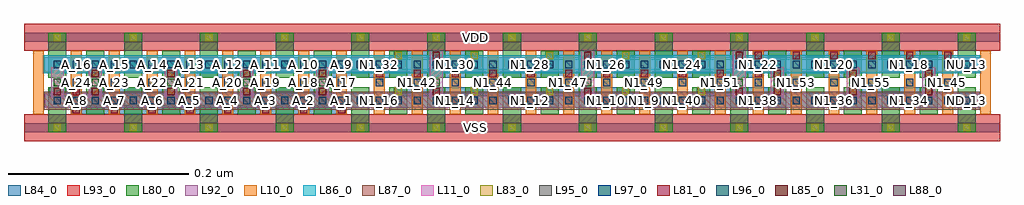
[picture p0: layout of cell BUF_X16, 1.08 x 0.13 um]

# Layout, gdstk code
import gdstk
lib = gdstk.Library(unit=1e-6, precision=1e-09)
def R(c, l, rs):  # rectangles x0, y0, x1, y1
    for r in rs: c.add(gdstk.rectangle(r[:2], r[2:], *l))
def A(c, l, x, y, w, h, nx, ny, dx, dy):  # array of equal rectangles
    R(c, l, [(x+i*dx, y+j*dy, x+i*dx+w, y+j*dy+h) for i in range(nx) for j in range(ny)])
L10_0 = (10, 0)
L11_0 = (11, 0)
L31_0 = (31, 0)
L80_0 = (80, 0)
L81_0 = (81, 0)
L83_0 = (83, 0)
L84_0 = (84, 0)
L85_0 = (85, 0)
L86_0 = (86, 0)
L87_0 = (87, 0)
L88_0 = (88, 0)
L92_0 = (92, 0)
L93_0 = (93, 0)
L95_0 = (95, 0)
L96_0 = (96, 0)
L97_0 = (97, 0)

buf_x16 = lib.new_cell('BUF_X16')
A(buf_x16, L10_0, -0.027, 0.015, 0.012, 0.07, 26, 1, 0.042, 0)
R(buf_x16, L11_0, [(-0.007,0.033,0.007,0.067), (0.035,0.033,0.049,0.067), (0.035,0.033,0.049,0.067), (0.119,0.033,0.133,0.067), (0.119,0.033,0.133,0.067), (0.203,0.033,0.217,0.067), (0.203,0.033,0.217,0.067), (0.287,0.033,0.301,0.067), (0.287,0.033,0.301,0.067), (0.413,0.033,0.427,0.067), (0.413,0.033,0.427,0.067), (0.581,0.033,0.595,0.067), (0.581,0.033,0.595,0.067), (0.749,0.033,0.763,0.067), (0.749,0.033,0.763,0.067), (0.791,0.033,0.805,0.067), (0.791,0.033,0.805,0.067), (0.875,0.033,0.889,0.067), (0.875,0.033,0.889,0.067), (0.959,0.033,0.973,0.067), (0.959,0.033,0.973,0.067), (0.413,0.053,0.427,0.087), (0.413,0.053,0.427,0.087), (0.581,0.053,0.595,0.087), (0.581,0.053,0.595,0.087), (0.749,0.053,0.763,0.087), (0.749,0.053,0.763,0.087)])
A(buf_x16, L31_0, 0.038, 0.046, 0.008, 0.008, 4, 1, 0.084, 0)
A(buf_x16, L31_0, 0.416, 0.046, 0.008, 0.008, 3, 1, 0.168, 0)
A(buf_x16, L31_0, 0.794, 0.046, 0.008, 0.008, 3, 1, 0.084, 0)
R(buf_x16, L31_0, [(-0.004,0.046,0.004,0.054)])
A(buf_x16, L80_0, -0.01, -0.005, 0.02, 0.03, 13, 2, 0.084, 0.08)
A(buf_x16, L80_0, -0.01, 0.015, 0.02, 0.03, 6, 1, 0.042, 0)
A(buf_x16, L80_0, 0.2, 0.015, 0.02, 0.03, 20, 1, 0.042, 0)
A(buf_x16, L80_0, -0.01, 0.055, 0.02, 0.03, 20, 1, 0.042, 0)
A(buf_x16, L80_0, 0.788, 0.055, 0.02, 0.03, 6, 1, 0.042, 0)
R(buf_x16, L81_0, [(0.017,0.016,0.025,0.024), (0.017,0.016,0.025,0.024), (0.059,0.016,0.067,0.024), (0.059,0.016,0.067,0.024), (0.101,0.016,0.109,0.024), (0.101,0.016,0.109,0.024), (0.143,0.016,0.151,0.024), (0.143,0.016,0.151,0.024), (0.185,0.016,0.193,0.024), (0.185,0.016,0.193,0.024), (0.227,0.016,0.235,0.024), (0.227,0.016,0.235,0.024), (0.269,0.016,0.277,0.024), (0.269,0.016,0.277,0.024), (0.311,0.016,0.319,0.024), (0.311,0.016,0.319,0.024), (0.017,0.036,0.025,0.044), (0.353,0.056,0.361,0.064), (0.353,0.056,0.361,0.064), (0.395,0.056,0.403,0.064), (0.395,0.056,0.403,0.064), (0.437,0.056,0.445,0.064), (0.437,0.056,0.445,0.064), (0.479,0.056,0.487,0.064), (0.479,0.056,0.487,0.064), (0.521,0.056,0.529,0.064), (0.521,0.056,0.529,0.064), (0.563,0.056,0.571,0.064), (0.563,0.056,0.571,0.064), (0.605,0.056,0.613,0.064), (0.605,0.056,0.613,0.064), (0.647,0.056,0.655,0.064), (0.647,0.056,0.655,0.064), (0.689,0.056,0.697,0.064), (0.689,0.056,0.697,0.064), (0.731,0.056,0.739,0.064), (0.731,0.056,0.739,0.064), (0.773,0.056,0.781,0.064), (0.773,0.056,0.781,0.064), (0.773,0.076,0.781,0.084), (0.773,0.076,0.781,0.084), (0.773,0.076,0.781,0.084), (0.773,0.076,0.781,0.084), (0.773,0.076,0.781,0.084), (0.773,0.076,0.781,0.084), (0.815,0.076,0.823,0.084), (0.815,0.076,0.823,0.084), (0.815,0.076,0.823,0.084), (0.815,0.076,0.823,0.084), (0.815,0.076,0.823,0.084), (0.815,0.076,0.823,0.084), (0.857,0.076,0.865,0.084), (0.857,0.076,0.865,0.084), (0.857,0.076,0.865,0.084), (0.857,0.076,0.865,0.084), (0.857,0.076,0.865,0.084), (0.857,0.076,0.865,0.084), (0.899,0.076,0.907,0.084), (0.899,0.076,0.907,0.084), (0.899,0.076,0.907,0.084), (0.899,0.076,0.907,0.084), (0.899,0.076,0.907,0.084), (0.899,0.076,0.907,0.084), (0.941,0.076,0.949,0.084), (0.941,0.076,0.949,0.084), (0.941,0.076,0.949,0.084), (0.941,0.076,0.949,0.084), (0.983,0.076,0.991,0.084), (0.983,0.076,0.991,0.084)])
A(buf_x16, L83_0, -0.004, -0.004, 0.008, 0.008, 13, 2, 0.084, 0.1)
R(buf_x16, L83_0, [(0.038,0.036,0.046,0.044), (0.038,0.036,0.046,0.044), (0.122,0.036,0.13,0.044), (0.122,0.036,0.13,0.044), (0.206,0.036,0.214,0.044), (0.206,0.036,0.214,0.044), (0.29,0.036,0.298,0.044), (0.29,0.036,0.298,0.044), (0.374,0.036,0.382,0.044), (0.374,0.036,0.382,0.044), (0.458,0.036,0.466,0.044), (0.458,0.036,0.466,0.044), (0.542,0.036,0.55,0.044), (0.542,0.036,0.55,0.044), (0.626,0.036,0.634,0.044), (0.626,0.036,0.634,0.044), (0.71,0.036,0.718,0.044), (0.71,0.036,0.718,0.044), (0.794,0.036,0.802,0.044), (0.794,0.036,0.802,0.044), (0.878,0.036,0.886,0.044), (0.878,0.036,0.886,0.044), (0.962,0.036,0.97,0.044), (0.962,0.036,0.97,0.044), (0.038,0.056,0.046,0.064), (0.038,0.056,0.046,0.064), (0.122,0.056,0.13,0.064), (0.122,0.056,0.13,0.064), (0.206,0.056,0.214,0.064), (0.206,0.056,0.214,0.064), (0.29,0.056,0.298,0.064), (0.29,0.056,0.298,0.064), (0.794,0.056,0.802,0.064), (0.794,0.056,0.802,0.064), (0.878,0.056,0.886,0.064), (0.878,0.056,0.886,0.064), (0.962,0.056,0.97,0.064), (0.962,0.056,0.97,0.064), (0.374,0.076,0.382,0.084), (0.374,0.076,0.382,0.084), (0.374,0.076,0.382,0.084), (0.374,0.076,0.382,0.084), (0.374,0.076,0.382,0.084), (0.374,0.076,0.382,0.084), (0.458,0.076,0.466,0.084), (0.458,0.076,0.466,0.084), (0.458,0.076,0.466,0.084), (0.458,0.076,0.466,0.084), (0.458,0.076,0.466,0.084), (0.458,0.076,0.466,0.084), (0.542,0.076,0.55,0.084), (0.542,0.076,0.55,0.084), (0.542,0.076,0.55,0.084), (0.542,0.076,0.55,0.084), (0.542,0.076,0.55,0.084), (0.542,0.076,0.55,0.084), (0.626,0.076,0.634,0.084), (0.626,0.076,0.634,0.084), (0.626,0.076,0.634,0.084), (0.626,0.076,0.634,0.084), (0.626,0.076,0.634,0.084), (0.626,0.076,0.634,0.084), (0.71,0.076,0.718,0.084), (0.71,0.076,0.718,0.084), (0.71,0.076,0.718,0.084), (0.71,0.076,0.718,0.084), (0.71,0.076,0.718,0.084), (0.71,0.076,0.718,0.084), (1.004,0.096,1.012,0.104)])
R(buf_x16, L84_0, [(-0.037,-0.005,1.045,0.005), (0.016,0.015,0.047,0.025), (0.016,0.015,0.047,0.025), (0.037,0.015,0.068,0.025), (0.037,0.015,0.068,0.025), (0.058,0.015,0.089,0.025), (0.058,0.015,0.089,0.025), (0.079,0.015,0.11,0.025), (0.079,0.015,0.11,0.025), (0.1,0.015,0.131,0.025), (0.1,0.015,0.131,0.025), (0.121,0.015,0.152,0.025), (0.121,0.015,0.152,0.025), (0.142,0.015,0.173,0.025), (0.142,0.015,0.173,0.025), (0.163,0.015,0.194,0.025), (0.163,0.015,0.194,0.025), (0.184,0.015,0.215,0.025), (0.184,0.015,0.215,0.025), (0.205,0.015,0.236,0.025), (0.205,0.015,0.236,0.025), (0.226,0.015,0.257,0.025), (0.226,0.015,0.257,0.025), (0.247,0.015,0.278,0.025), (0.247,0.015,0.278,0.025), (0.268,0.015,0.299,0.025), (0.268,0.015,0.299,0.025), (0.289,0.015,0.32,0.025), (0.289,0.015,0.32,0.025), (-0.009,0.035,0.027,0.045), (0.037,0.035,0.047,0.045), (0.037,0.035,0.132,0.045), (0.121,0.035,0.131,0.045), (0.121,0.035,0.131,0.045), (0.205,0.035,0.236,0.045), (0.205,0.035,0.236,0.045), (0.226,0.035,0.257,0.045), (0.226,0.035,0.257,0.045), (0.247,0.035,0.278,0.045), (0.247,0.035,0.278,0.045), (0.268,0.035,0.299,0.045), (0.268,0.035,0.299,0.045), (0.373,0.035,0.404,0.045), (0.373,0.035,0.404,0.045), (0.394,0.035,0.425,0.045), (0.394,0.035,0.425,0.045), (0.415,0.035,0.446,0.045), (0.415,0.035,0.446,0.045), (0.436,0.035,0.467,0.045), (0.436,0.035,0.467,0.045), (0.457,0.035,0.488,0.045), (0.457,0.035,0.488,0.045), (0.478,0.035,0.509,0.045), (0.478,0.035,0.509,0.045), (0.499,0.035,0.53,0.045), (0.499,0.035,0.53,0.045), (0.52,0.035,0.551,0.045), (0.52,0.035,0.551,0.045), (0.541,0.035,0.572,0.045), (0.541,0.035,0.572,0.045), (0.562,0.035,0.593,0.045), (0.562,0.035,0.593,0.045), (0.583,0.035,0.614,0.045), (0.583,0.035,0.614,0.045), (0.604,0.035,0.635,0.045), (0.604,0.035,0.635,0.045), (0.709,0.035,0.74,0.045), (0.709,0.035,0.74,0.045), (0.73,0.035,0.761,0.045), (0.73,0.035,0.761,0.045), (0.751,0.035,0.782,0.045), (0.751,0.035,0.782,0.045), (0.772,0.035,0.803,0.045), (0.772,0.035,0.803,0.045), (0.877,0.035,0.908,0.045), (0.877,0.035,0.908,0.045), (0.898,0.035,0.929,0.045), (0.898,0.035,0.929,0.045), (0.919,0.035,0.95,0.045), (0.919,0.035,0.95,0.045), (0.94,0.035,0.971,0.045), (0.94,0.035,0.971,0.045), (0.037,0.055,0.047,0.065), (0.037,0.055,0.047,0.065), (0.121,0.055,0.152,0.065), (0.121,0.055,0.152,0.065), (0.142,0.055,0.173,0.065), (0.142,0.055,0.173,0.065), (0.163,0.055,0.194,0.065), (0.163,0.055,0.194,0.065), (0.184,0.055,0.215,0.065), (0.184,0.055,0.215,0.065), (0.289,0.055,0.32,0.065), (0.289,0.055,0.32,0.065), (0.31,0.055,0.341,0.065), (0.31,0.055,0.341,0.065), (0.331,0.055,0.362,0.065), (0.331,0.055,0.362,0.065), (0.352,0.055,0.383,0.065), (0.352,0.055,0.383,0.065), (0.373,0.055,0.404,0.065), (0.373,0.055,0.404,0.065), (0.394,0.055,0.425,0.065), (0.394,0.055,0.425,0.065), (0.415,0.055,0.446,0.065), (0.415,0.055,0.446,0.065), (0.436,0.055,0.467,0.065), (0.436,0.055,0.467,0.065), (0.457,0.055,0.488,0.065), (0.457,0.055,0.488,0.065), (0.478,0.055,0.509,0.065), (0.478,0.055,0.509,0.065), (0.499,0.055,0.53,0.065), (0.499,0.055,0.53,0.065), (0.52,0.055,0.551,0.065), (0.52,0.055,0.551,0.065), (0.541,0.055,0.572,0.065), (0.541,0.055,0.572,0.065), (0.562,0.055,0.593,0.065), (0.562,0.055,0.593,0.065), (0.583,0.055,0.614,0.065), (0.583,0.055,0.614,0.065), (0.604,0.055,0.635,0.065), (0.604,0.055,0.635,0.065), (0.625,0.055,0.656,0.065), (0.625,0.055,0.656,0.065), (0.646,0.055,0.677,0.065), (0.646,0.055,0.677,0.065), (0.667,0.055,0.698,0.065), (0.667,0.055,0.698,0.065), (0.688,0.055,0.719,0.065), (0.688,0.055,0.719,0.065), (0.709,0.055,0.74,0.065), (0.709,0.055,0.74,0.065), (0.73,0.055,0.761,0.065), (0.73,0.055,0.761,0.065), (0.751,0.055,0.782,0.065), (0.751,0.055,0.782,0.065), (0.793,0.055,0.824,0.065), (0.793,0.055,0.824,0.065), (0.814,0.055,0.845,0.065), (0.814,0.055,0.845,0.065), (0.835,0.055,0.866,0.065), (0.835,0.055,0.866,0.065), (0.856,0.055,0.887,0.065), (0.856,0.055,0.887,0.065), (0.961,0.055,0.971,0.065), (0.961,0.055,0.971,0.065), (0.373,0.075,0.404,0.085), (0.373,0.075,0.404,0.085), (0.394,0.075,0.425,0.085), (0.394,0.075,0.425,0.085), (0.415,0.075,0.446,0.085), (0.415,0.075,0.446,0.085), (0.436,0.075,0.467,0.085), (0.436,0.075,0.467,0.085), (0.541,0.075,0.572,0.085), (0.541,0.075,0.572,0.085), (0.562,0.075,0.593,0.085), (0.562,0.075,0.593,0.085), (0.583,0.075,0.614,0.085), (0.583,0.075,0.614,0.085), (0.604,0.075,0.635,0.085), (0.604,0.075,0.635,0.085), (0.625,0.075,0.656,0.085), (0.625,0.075,0.656,0.085), (0.646,0.075,0.677,0.085), (0.646,0.075,0.677,0.085), (0.667,0.075,0.698,0.085), (0.667,0.075,0.698,0.085), (0.688,0.075,0.719,0.085), (0.688,0.075,0.719,0.085), (0.709,0.075,0.74,0.085), (0.709,0.075,0.74,0.085), (0.73,0.075,0.761,0.085), (0.73,0.075,0.761,0.085), (0.772,0.075,0.803,0.085), (0.772,0.075,0.803,0.085), (0.793,0.075,0.824,0.085), (0.793,0.075,0.824,0.085), (0.814,0.075,0.845,0.085), (0.814,0.075,0.845,0.085), (0.835,0.075,0.866,0.085), (0.835,0.075,0.866,0.085), (0.856,0.075,0.887,0.085), (0.856,0.075,0.887,0.085), (0.877,0.075,0.908,0.085), (0.877,0.075,0.908,0.085), (0.898,0.075,0.929,0.085), (0.898,0.075,0.929,0.085), (0.919,0.075,0.95,0.085), (0.919,0.075,0.95,0.085), (0.94,0.075,0.971,0.085), (0.94,0.075,0.971,0.085), (0.961,0.075,0.992,0.085), (0.961,0.075,0.992,0.085), (-0.037,0.095,1.045,0.105)])
R(buf_x16, L85_0, [(-0.004,0.036,0.004,0.044), (0.038,0.036,0.046,0.044), (0.038,0.036,0.046,0.044), (0.122,0.036,0.13,0.044), (0.122,0.036,0.13,0.044), (0.206,0.036,0.214,0.044), (0.206,0.036,0.214,0.044), (0.29,0.036,0.298,0.044), (0.29,0.036,0.298,0.044), (0.416,0.036,0.424,0.044), (0.416,0.036,0.424,0.044), (0.584,0.036,0.592,0.044), (0.584,0.036,0.592,0.044), (0.752,0.036,0.76,0.044), (0.752,0.036,0.76,0.044), (0.794,0.036,0.802,0.044), (0.794,0.036,0.802,0.044), (0.878,0.036,0.886,0.044), (0.878,0.036,0.886,0.044), (0.962,0.036,0.97,0.044), (0.962,0.036,0.97,0.044), (0.038,0.056,0.046,0.064), (0.038,0.056,0.046,0.064), (0.122,0.056,0.13,0.064), (0.122,0.056,0.13,0.064), (0.206,0.056,0.214,0.064), (0.206,0.056,0.214,0.064), (0.29,0.056,0.298,0.064), (0.29,0.056,0.298,0.064), (0.794,0.056,0.802,0.064), (0.794,0.056,0.802,0.064), (0.878,0.056,0.886,0.064), (0.878,0.056,0.886,0.064), (0.962,0.056,0.97,0.064), (0.962,0.056,0.97,0.064), (0.416,0.076,0.424,0.084), (0.416,0.076,0.424,0.084), (0.584,0.076,0.592,0.084), (0.584,0.076,0.592,0.084), (0.752,0.076,0.76,0.084), (0.752,0.076,0.76,0.084)])
R(buf_x16, L86_0, [(-0.015,0.06,1.023,0.08)])
R(buf_x16, L87_0, [(-0.015,0.02,1.023,0.04)])
R(buf_x16, L88_0, [(0.459,-0.004,0.467,0.004), (0.459,0.096,0.467,0.104)])
R(buf_x16, L92_0, [(-0.014,0.022,1.022,0.038), (-0.014,0.062,1.022,0.078)])
R(buf_x16, L93_0, [(-0.037,-0.015,1.045,0.015), (-0.037,0.085,1.045,0.115)])
A(buf_x16, L95_0, -0.01, 0.005, 0.02, 0.01, 13, 1, 0.084, 0)
A(buf_x16, L95_0, -0.01, 0.085, 0.02, 0.01, 6, 1, 0.084, 0)
A(buf_x16, L95_0, 0.41, 0.085, 0.02, 0.01, 8, 1, 0.084, 0)
A(buf_x16, L96_0, -0.004, 0.026, 0.008, 0.008, 25, 2, 0.042, 0.04)
A(buf_x16, L97_0, 0.017, 0.026, 0.008, 0.008, 24, 3, 0.042, 0.02)
buf_x16.add(gdstk.Label('N1_49', (0.651,0.05), layer=97, texttype=0))
buf_x16.add(gdstk.Label('N1_24', (0.693,0.07), layer=97, texttype=0))
buf_x16.add(gdstk.Label('N1_50', (0.693,0.05), layer=97, texttype=0))
buf_x16.add(gdstk.Label('N1_23', (0.735,0.07), layer=97, texttype=0))
buf_x16.add(gdstk.Label('N1_51', (0.735,0.05), layer=97, texttype=0))
buf_x16.add(gdstk.Label('N1_22', (0.777,0.07), layer=97, texttype=0))
buf_x16.add(gdstk.Label('N1_52', (0.777,0.05), layer=97, texttype=0))
buf_x16.add(gdstk.Label('N1_21', (0.819,0.07), layer=97, texttype=0))
buf_x16.add(gdstk.Label('N1_53', (0.819,0.05), layer=97, texttype=0))
buf_x16.add(gdstk.Label('N1_20', (0.861,0.07), layer=97, texttype=0))
buf_x16.add(gdstk.Label('N1_54', (0.861,0.05), layer=97, texttype=0))
buf_x16.add(gdstk.Label('N1_19', (0.903,0.07), layer=97, texttype=0))
buf_x16.add(gdstk.Label('N1_55', (0.903,0.05), layer=97, texttype=0))
buf_x16.add(gdstk.Label('N1_18', (0.945,0.07), layer=97, texttype=0))
buf_x16.add(gdstk.Label('N1_56', (0.945,0.05), layer=97, texttype=0))
buf_x16.add(gdstk.Label('N1_17', (0.987,0.07), layer=97, texttype=0))
buf_x16.add(gdstk.Label('N1_45', (0.987,0.05), layer=97, texttype=0))
buf_x16.add(gdstk.Label('A_8', (0.021,0.03), layer=97, texttype=0))
buf_x16.add(gdstk.Label('A_7', (0.063,0.03), layer=97, texttype=0))
buf_x16.add(gdstk.Label('A_6', (0.105,0.03), layer=97, texttype=0))
buf_x16.add(gdstk.Label('A_5', (0.147,0.03), layer=97, texttype=0))
buf_x16.add(gdstk.Label('A_4', (0.189,0.03), layer=97, texttype=0))
buf_x16.add(gdstk.Label('A_3', (0.231,0.03), layer=97, texttype=0))
buf_x16.add(gdstk.Label('A_2', (0.273,0.03), layer=97, texttype=0))
buf_x16.add(gdstk.Label('A_1', (0.315,0.03), layer=97, texttype=0))
buf_x16.add(gdstk.Label('N1_16', (0.357,0.03), layer=97, texttype=0))
buf_x16.add(gdstk.Label('N1_15', (0.399,0.03), layer=97, texttype=0))
buf_x16.add(gdstk.Label('N1_14', (0.441,0.03), layer=97, texttype=0))
buf_x16.add(gdstk.Label('N1_13', (0.483,0.03), layer=97, texttype=0))
buf_x16.add(gdstk.Label('N1_12', (0.525,0.03), layer=97, texttype=0))
buf_x16.add(gdstk.Label('N1_11', (0.567,0.03), layer=97, texttype=0))
buf_x16.add(gdstk.Label('N1_10', (0.609,0.03), layer=97, texttype=0))
buf_x16.add(gdstk.Label('N1_9', (0.651,0.03), layer=97, texttype=0))
buf_x16.add(gdstk.Label('N1_40', (0.693,0.03), layer=97, texttype=0))
buf_x16.add(gdstk.Label('N1_39', (0.735,0.03), layer=97, texttype=0))
buf_x16.add(gdstk.Label('N1_38', (0.777,0.03), layer=97, texttype=0))
buf_x16.add(gdstk.Label('N1_37', (0.819,0.03), layer=97, texttype=0))
buf_x16.add(gdstk.Label('N1_36', (0.861,0.03), layer=97, texttype=0))
buf_x16.add(gdstk.Label('N1_35', (0.903,0.03), layer=97, texttype=0))
buf_x16.add(gdstk.Label('N1_34', (0.945,0.03), layer=97, texttype=0))
buf_x16.add(gdstk.Label('N1_33', (0.987,0.03), layer=97, texttype=0))
buf_x16.add(gdstk.Label('N1_25', (0.651,0.07), layer=97, texttype=0))
buf_x16.add(gdstk.Label('N1_48', (0.609,0.05), layer=97, texttype=0))
buf_x16.add(gdstk.Label('N1_26', (0.609,0.07), layer=97, texttype=0))
buf_x16.add(gdstk.Label('N1_47', (0.567,0.05), layer=97, texttype=0))
buf_x16.add(gdstk.Label('N1_27', (0.567,0.07), layer=97, texttype=0))
buf_x16.add(gdstk.Label('N1_46', (0.525,0.05), layer=97, texttype=0))
buf_x16.add(gdstk.Label('N1_28', (0.525,0.07), layer=97, texttype=0))
buf_x16.add(gdstk.Label('N1_44', (0.483,0.05), layer=97, texttype=0))
buf_x16.add(gdstk.Label('N1_29', (0.483,0.07), layer=97, texttype=0))
buf_x16.add(gdstk.Label('N1_43', (0.441,0.05), layer=97, texttype=0))
buf_x16.add(gdstk.Label('N1_30', (0.441,0.07), layer=97, texttype=0))
buf_x16.add(gdstk.Label('N1_42', (0.399,0.05), layer=97, texttype=0))
buf_x16.add(gdstk.Label('N1_31', (0.399,0.07), layer=97, texttype=0))
buf_x16.add(gdstk.Label('N1_41', (0.357,0.05), layer=97, texttype=0))
buf_x16.add(gdstk.Label('N1_32', (0.357,0.07), layer=97, texttype=0))
buf_x16.add(gdstk.Label('A_17', (0.315,0.05), layer=97, texttype=0))
buf_x16.add(gdstk.Label('A_9', (0.315,0.07), layer=97, texttype=0))
buf_x16.add(gdstk.Label('A_18', (0.273,0.05), layer=97, texttype=0))
buf_x16.add(gdstk.Label('A_10', (0.273,0.07), layer=97, texttype=0))
buf_x16.add(gdstk.Label('A_19', (0.231,0.05), layer=97, texttype=0))
buf_x16.add(gdstk.Label('A_11', (0.231,0.07), layer=97, texttype=0))
buf_x16.add(gdstk.Label('A_20', (0.189,0.05), layer=97, texttype=0))
buf_x16.add(gdstk.Label('A_12', (0.189,0.07), layer=97, texttype=0))
buf_x16.add(gdstk.Label('A_21', (0.147,0.05), layer=97, texttype=0))
buf_x16.add(gdstk.Label('A_13', (0.147,0.07), layer=97, texttype=0))
buf_x16.add(gdstk.Label('A_22', (0.105,0.05), layer=97, texttype=0))
buf_x16.add(gdstk.Label('A_14', (0.105,0.07), layer=97, texttype=0))
buf_x16.add(gdstk.Label('A_15', (0.063,0.07), layer=97, texttype=0))
buf_x16.add(gdstk.Label('A_23', (0.063,0.05), layer=97, texttype=0))
buf_x16.add(gdstk.Label('A_24', (0.021,0.05), layer=97, texttype=0))
buf_x16.add(gdstk.Label('A_16', (0.021,0.07), layer=97, texttype=0))
buf_x16.add(gdstk.Label('N1_7', (0.042,0.07), layer=96, texttype=0))
buf_x16.add(gdstk.Label('NU_1', (0,0.07), layer=96, texttype=0))
buf_x16.add(gdstk.Label('ND_4', (0.252,0.03), layer=96, texttype=0))
buf_x16.add(gdstk.Label('N1_3', (0.294,0.03), layer=96, texttype=0))
buf_x16.add(gdstk.Label('ND_5', (0.336,0.03), layer=96, texttype=0))
buf_x16.add(gdstk.Label('Z_16', (0.378,0.03), layer=96, texttype=0))
buf_x16.add(gdstk.Label('ND_6', (0.42,0.03), layer=96, texttype=0))
buf_x16.add(gdstk.Label('Z_15', (0.462,0.03), layer=96, texttype=0))
buf_x16.add(gdstk.Label('ND_7', (0.504,0.03), layer=96, texttype=0))
buf_x16.add(gdstk.Label('Z_14', (0.546,0.03), layer=96, texttype=0))
buf_x16.add(gdstk.Label('ND_8', (0.588,0.03), layer=96, texttype=0))
buf_x16.add(gdstk.Label('Z_13', (0.63,0.03), layer=96, texttype=0))
buf_x16.add(gdstk.Label('ND_9', (0.672,0.03), layer=96, texttype=0))
buf_x16.add(gdstk.Label('Z_12', (0.714,0.03), layer=96, texttype=0))
buf_x16.add(gdstk.Label('ND_10', (0.756,0.03), layer=96, texttype=0))
buf_x16.add(gdstk.Label('Z_11', (0.798,0.03), layer=96, texttype=0))
buf_x16.add(gdstk.Label('ND_11', (0.84,0.03), layer=96, texttype=0))
buf_x16.add(gdstk.Label('Z_10', (0.882,0.03), layer=96, texttype=0))
buf_x16.add(gdstk.Label('ND_12', (0.924,0.03), layer=96, texttype=0))
buf_x16.add(gdstk.Label('Z_9', (0.966,0.03), layer=96, texttype=0))
buf_x16.add(gdstk.Label('ND_13', (1.008,0.03), layer=96, texttype=0))
buf_x16.add(gdstk.Label('NU_13', (1.008,0.07), layer=96, texttype=0))
buf_x16.add(gdstk.Label('Z_8', (0.966,0.07), layer=96, texttype=0))
buf_x16.add(gdstk.Label('NU_12', (0.924,0.07), layer=96, texttype=0))
buf_x16.add(gdstk.Label('Z_7', (0.882,0.07), layer=96, texttype=0))
buf_x16.add(gdstk.Label('NU_11', (0.84,0.07), layer=96, texttype=0))
buf_x16.add(gdstk.Label('Z_6', (0.798,0.07), layer=96, texttype=0))
buf_x16.add(gdstk.Label('NU_10', (0.756,0.07), layer=96, texttype=0))
buf_x16.add(gdstk.Label('Z_5', (0.714,0.07), layer=96, texttype=0))
buf_x16.add(gdstk.Label('NU_9', (0.672,0.07), layer=96, texttype=0))
buf_x16.add(gdstk.Label('Z_4', (0.63,0.07), layer=96, texttype=0))
buf_x16.add(gdstk.Label('NU_8', (0.588,0.07), layer=96, texttype=0))
buf_x16.add(gdstk.Label('Z_3', (0.546,0.07), layer=96, texttype=0))
buf_x16.add(gdstk.Label('NU_7', (0.504,0.07), layer=96, texttype=0))
buf_x16.add(gdstk.Label('Z_2', (0.462,0.07), layer=96, texttype=0))
buf_x16.add(gdstk.Label('NU_6', (0.42,0.07), layer=96, texttype=0))
buf_x16.add(gdstk.Label('Z_1', (0.378,0.07), layer=96, texttype=0))
buf_x16.add(gdstk.Label('NU_5', (0.336,0.07), layer=96, texttype=0))
buf_x16.add(gdstk.Label('N1_2', (0.294,0.07), layer=96, texttype=0))
buf_x16.add(gdstk.Label('NU_4', (0.252,0.07), layer=96, texttype=0))
buf_x16.add(gdstk.Label('N1_1', (0.21,0.07), layer=96, texttype=0))
buf_x16.add(gdstk.Label('ND_1', (0,0.03), layer=96, texttype=0))
buf_x16.add(gdstk.Label('N1_6', (0.042,0.03), layer=96, texttype=0))
buf_x16.add(gdstk.Label('NU_2', (0.084,0.07), layer=96, texttype=0))
buf_x16.add(gdstk.Label('ND_2', (0.084,0.03), layer=96, texttype=0))
buf_x16.add(gdstk.Label('N1_5', (0.126,0.03), layer=96, texttype=0))
buf_x16.add(gdstk.Label('N1_8', (0.126,0.07), layer=96, texttype=0))
buf_x16.add(gdstk.Label('N1_4', (0.21,0.03), layer=96, texttype=0))
buf_x16.add(gdstk.Label('NU_3', (0.168,0.07), layer=96, texttype=0))
buf_x16.add(gdstk.Label('ND_3', (0.168,0.03), layer=96, texttype=0))
buf_x16.add(gdstk.Label('VSS', (0.463,0), layer=88, texttype=0))
buf_x16.add(gdstk.Label('VDD', (0.463,0.1), layer=88, texttype=0))
buf_x16.add(gdstk.Label('N1', (0.042,0.05), layer=31, texttype=0))
buf_x16.add(gdstk.Label('N1', (0.126,0.05), layer=31, texttype=0))
buf_x16.add(gdstk.Label('N1', (0.21,0.05), layer=31, texttype=0))
buf_x16.add(gdstk.Label('N1', (0.294,0.05), layer=31, texttype=0))
buf_x16.add(gdstk.Label('Z', (0.42,0.05), layer=31, texttype=0))
buf_x16.add(gdstk.Label('Z', (0.588,0.05), layer=31, texttype=0))
buf_x16.add(gdstk.Label('Z', (0.756,0.05), layer=31, texttype=0))
buf_x16.add(gdstk.Label('Z', (0.798,0.05), layer=31, texttype=0))
buf_x16.add(gdstk.Label('Z', (0.882,0.05), layer=31, texttype=0))
buf_x16.add(gdstk.Label('Z', (0.966,0.05), layer=31, texttype=0))
buf_x16.add(gdstk.Label('A', (0,0.05), layer=31, texttype=0))

lib.write_gds('BUF_X16.gds')
